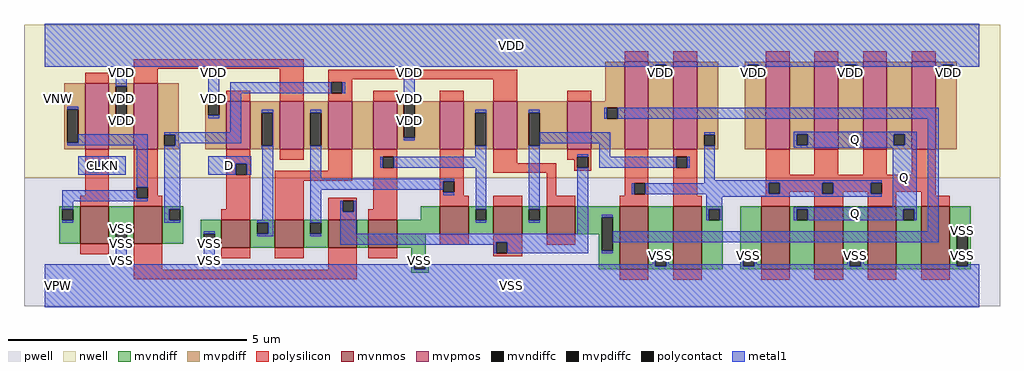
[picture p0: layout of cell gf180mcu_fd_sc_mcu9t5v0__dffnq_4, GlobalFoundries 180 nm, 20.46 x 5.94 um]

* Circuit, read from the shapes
.subckt gf180mcu_fd_sc_mcu9t5v0__dffnq_4 D CLKN Q VDD VNW VPW VSS
XM1 VSS CLKN n1 VPW nfet_06v0 w=0.79u l=0.6u
XM2 n2 n1 VSS VPW nfet_06v0 w=0.79u l=0.6u
XM3 n3 D VSS VPW nfet_06v0 w=0.59u l=0.6u
XM4 n4 n2 n3 VPW nfet_06v0 w=0.59u l=0.6u
XM5 n5 n1 n4 VPW nfet_06v0 w=0.59u l=0.6u
XM6 VSS n6 n5 VPW nfet_06v0 w=0.59u l=0.6u
XM7 n6 n4 VSS VPW nfet_06v0 w=0.59u l=0.6u
XM8 n7 n1 n6 VPW nfet_06v0 w=0.59u l=0.6u
XM9 n8 n2 n7 VPW nfet_06v0 w=0.59u l=0.6u
XM10 VSS n9 n8 VPW nfet_06v0 w=1.32u l=0.6u
XM11 n9 n7 VSS VPW nfet_06v0 w=1.32u l=0.6u
XM12 Q n9 VSS VPW nfet_06v0 w=1.32u l=0.6u m=4
XM13 VDD CLKN n1 VNW pfet_06v0 w=1.38u l=0.5u
XM14 n2 n1 VDD VNW pfet_06v0 w=1.38u l=0.5u
XM15 n3 D VDD VNW pfet_06v0 w=1u l=0.5u
XM16 n4 n1 n3 VNW pfet_06v0 w=1u l=0.5u
XM17 n10 n2 n4 VNW pfet_06v0 w=1u l=0.5u
XM18 VDD n6 n10 VNW pfet_06v0 w=1u l=0.5u
XM19 n6 n4 VDD VNW pfet_06v0 w=1u l=0.5u
XM20 n7 n2 n6 VNW pfet_06v0 w=1u l=0.5u
XM21 n8 n1 n7 VNW pfet_06v0 w=1u l=0.5u
XM22 VDD n9 n8 VNW pfet_06v0 w=1.83u l=0.5u
XM23 n9 n7 VDD VNW pfet_06v0 w=1.83u l=0.5u
XM24 Q n9 VDD VNW pfet_06v0 w=1.83u l=0.5u m=4
.ends

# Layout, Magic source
magic
tech gf180mcuD
magscale 1 10
<< nwell >>
rect -86 453 4006 1094
<< pwell >>
rect -86 -86 4006 453
<< mvnmos >>
rect 150 175 270 333
rect 374 175 494 333
rect 742 159 862 277
rect 966 159 1086 277
rect 1190 159 1310 277
rect 1358 159 1478 277
rect 1658 215 1778 333
rect 1882 215 2002 333
rect 2106 215 2226 333
rect 2412 69 2532 333
rect 2636 69 2756 333
rect 3004 69 3124 333
rect 3228 69 3348 333
rect 3452 69 3572 333
rect 3676 69 3796 333
<< mvpmos >>
rect 170 573 270 849
rect 374 573 474 849
rect 762 573 862 773
rect 986 573 1086 773
rect 1190 573 1290 773
rect 1378 573 1478 773
rect 1658 573 1758 773
rect 1881 573 1981 773
rect 2192 573 2292 773
rect 2432 573 2532 939
rect 2636 573 2736 939
rect 3024 573 3124 939
rect 3228 573 3328 939
rect 3432 573 3532 939
rect 3636 573 3736 939
<< mvndiff >>
rect 62 320 150 333
rect 62 274 75 320
rect 121 274 150 320
rect 62 175 150 274
rect 270 234 374 333
rect 270 188 299 234
rect 345 188 374 234
rect 270 175 374 188
rect 494 320 582 333
rect 494 274 523 320
rect 569 274 582 320
rect 1578 277 1658 333
rect 494 175 582 274
rect 654 218 742 277
rect 654 172 667 218
rect 713 172 742 218
rect 654 159 742 172
rect 862 264 966 277
rect 862 218 891 264
rect 937 218 966 264
rect 862 159 966 218
rect 1086 264 1190 277
rect 1086 218 1115 264
rect 1161 218 1190 264
rect 1086 159 1190 218
rect 1310 159 1358 277
rect 1478 215 1658 277
rect 1778 320 1882 333
rect 1778 274 1807 320
rect 1853 274 1882 320
rect 1778 215 1882 274
rect 2002 320 2106 333
rect 2002 274 2031 320
rect 2077 274 2106 320
rect 2002 215 2106 274
rect 2226 287 2412 333
rect 2226 215 2337 287
rect 1478 159 1598 215
rect 1538 127 1598 159
rect 1538 114 1610 127
rect 2324 147 2337 215
rect 2383 147 2412 287
rect 1538 68 1551 114
rect 1597 68 1610 114
rect 2324 69 2412 147
rect 2532 128 2636 333
rect 2532 82 2561 128
rect 2607 82 2636 128
rect 2532 69 2636 82
rect 2756 320 2844 333
rect 2756 274 2785 320
rect 2831 274 2844 320
rect 2756 69 2844 274
rect 2916 128 3004 333
rect 2916 82 2929 128
rect 2975 82 3004 128
rect 2916 69 3004 82
rect 3124 320 3228 333
rect 3124 274 3153 320
rect 3199 274 3228 320
rect 3124 69 3228 274
rect 3348 128 3452 333
rect 3348 82 3377 128
rect 3423 82 3452 128
rect 3348 69 3452 82
rect 3572 320 3676 333
rect 3572 274 3601 320
rect 3647 274 3676 320
rect 3572 69 3676 274
rect 3796 222 3884 333
rect 3796 82 3825 222
rect 3871 82 3884 222
rect 3796 69 3884 82
rect 1538 55 1610 68
<< mvpdiff >>
rect 82 739 170 849
rect 82 599 95 739
rect 141 599 170 739
rect 82 573 170 599
rect 270 836 374 849
rect 270 696 299 836
rect 345 696 374 836
rect 270 573 374 696
rect 474 632 562 849
rect 2352 773 2432 939
rect 474 586 503 632
rect 549 586 562 632
rect 474 573 562 586
rect 674 760 762 773
rect 674 714 687 760
rect 733 714 762 760
rect 674 573 762 714
rect 862 726 986 773
rect 862 586 911 726
rect 957 586 986 726
rect 862 573 986 586
rect 1086 726 1190 773
rect 1086 586 1115 726
rect 1161 586 1190 726
rect 1086 573 1190 586
rect 1290 573 1378 773
rect 1478 760 1658 773
rect 1478 620 1507 760
rect 1553 620 1658 760
rect 1478 573 1658 620
rect 1758 726 1881 773
rect 1758 586 1806 726
rect 1852 586 1881 726
rect 1758 573 1881 586
rect 1981 726 2192 773
rect 1981 586 2031 726
rect 2077 586 2192 726
rect 1981 573 2192 586
rect 2292 746 2432 773
rect 2292 700 2357 746
rect 2403 700 2432 746
rect 2292 573 2432 700
rect 2532 926 2636 939
rect 2532 880 2561 926
rect 2607 880 2636 926
rect 2532 573 2636 880
rect 2736 632 2824 939
rect 2736 586 2765 632
rect 2811 586 2824 632
rect 2736 573 2824 586
rect 2936 926 3024 939
rect 2936 880 2949 926
rect 2995 880 3024 926
rect 2936 573 3024 880
rect 3124 635 3228 939
rect 3124 589 3153 635
rect 3199 589 3228 635
rect 3124 573 3228 589
rect 3328 926 3432 939
rect 3328 880 3357 926
rect 3403 880 3432 926
rect 3328 573 3432 880
rect 3532 635 3636 939
rect 3532 589 3561 635
rect 3607 589 3636 635
rect 3532 573 3636 589
rect 3736 926 3824 939
rect 3736 880 3765 926
rect 3811 880 3824 926
rect 3736 573 3824 880
<< mvndiffc >>
rect 75 274 121 320
rect 299 188 345 234
rect 523 274 569 320
rect 667 172 713 218
rect 891 218 937 264
rect 1115 218 1161 264
rect 1807 274 1853 320
rect 2031 274 2077 320
rect 2337 147 2383 287
rect 1551 68 1597 114
rect 2561 82 2607 128
rect 2785 274 2831 320
rect 2929 82 2975 128
rect 3153 274 3199 320
rect 3377 82 3423 128
rect 3601 274 3647 320
rect 3825 82 3871 222
<< mvpdiffc >>
rect 95 599 141 739
rect 299 696 345 836
rect 503 586 549 632
rect 687 714 733 760
rect 911 586 957 726
rect 1115 586 1161 726
rect 1507 620 1553 760
rect 1806 586 1852 726
rect 2031 586 2077 726
rect 2357 700 2403 746
rect 2561 880 2607 926
rect 2765 586 2811 632
rect 2949 880 2995 926
rect 3153 589 3199 635
rect 3357 880 3403 926
rect 3561 589 3607 635
rect 3765 880 3811 926
<< polysilicon >>
rect 374 909 1086 949
rect 2432 939 2532 983
rect 2636 939 2736 983
rect 3024 939 3124 983
rect 3228 939 3328 983
rect 3432 939 3532 983
rect 3636 939 3736 983
rect 170 849 270 893
rect 374 849 474 909
rect 762 773 862 817
rect 986 773 1086 909
rect 1190 865 1981 905
rect 1190 852 1290 865
rect 1190 806 1203 852
rect 1249 806 1290 852
rect 1190 773 1290 806
rect 1378 773 1478 817
rect 1658 773 1758 817
rect 1881 773 1981 865
rect 2192 773 2292 817
rect 170 523 270 573
rect 170 477 183 523
rect 229 477 270 523
rect 170 377 270 477
rect 150 333 270 377
rect 374 412 474 573
rect 374 366 387 412
rect 433 377 474 412
rect 762 512 862 573
rect 986 529 1086 573
rect 762 466 801 512
rect 847 466 862 512
rect 1190 481 1290 573
rect 433 366 494 377
rect 374 333 494 366
rect 762 321 862 466
rect 742 277 862 321
rect 966 441 1290 481
rect 1378 540 1478 573
rect 1378 494 1419 540
rect 1465 494 1478 540
rect 966 277 1086 441
rect 1190 356 1310 369
rect 1190 310 1251 356
rect 1297 310 1310 356
rect 1378 321 1478 494
rect 1658 437 1758 573
rect 1881 513 1981 573
rect 2192 540 2292 573
rect 2192 529 2233 540
rect 1881 473 2146 513
rect 2220 494 2233 529
rect 2279 494 2292 540
rect 2220 481 2292 494
rect 1658 391 1671 437
rect 1717 391 1758 437
rect 1658 377 1758 391
rect 2106 377 2146 473
rect 2432 430 2532 573
rect 2432 384 2473 430
rect 2519 384 2532 430
rect 2432 377 2532 384
rect 1658 333 1778 377
rect 1882 333 2002 377
rect 2106 333 2226 377
rect 2412 333 2532 377
rect 2636 540 2736 573
rect 2636 494 2649 540
rect 2695 494 2736 540
rect 2636 377 2736 494
rect 3024 465 3124 573
rect 3228 465 3328 573
rect 3432 465 3532 573
rect 3636 465 3736 573
rect 3024 431 3736 465
rect 3024 385 3037 431
rect 3083 393 3260 431
rect 3083 385 3124 393
rect 3024 377 3124 385
rect 2636 333 2756 377
rect 3004 333 3124 377
rect 3228 385 3260 393
rect 3306 393 3465 431
rect 3306 385 3348 393
rect 3228 333 3348 385
rect 3452 385 3465 393
rect 3511 393 3736 431
rect 3511 385 3572 393
rect 3452 333 3572 385
rect 3676 377 3736 393
rect 3676 333 3796 377
rect 1190 277 1310 310
rect 1358 277 1478 321
rect 150 131 270 175
rect 374 67 494 175
rect 1658 171 1778 215
rect 1882 182 2002 215
rect 742 115 862 159
rect 966 115 1086 159
rect 1190 67 1310 159
rect 1358 115 1478 159
rect 1882 136 1895 182
rect 1941 136 2002 182
rect 2106 171 2226 215
rect 374 27 1310 67
rect 1882 123 2002 136
rect 2412 25 2532 69
rect 2636 25 2756 69
rect 3004 25 3124 69
rect 3228 25 3348 69
rect 3452 25 3572 69
rect 3676 25 3796 69
<< polycontact >>
rect 1203 806 1249 852
rect 183 477 229 523
rect 387 366 433 412
rect 801 466 847 512
rect 1419 494 1465 540
rect 1251 310 1297 356
rect 2233 494 2279 540
rect 1671 391 1717 437
rect 2473 384 2519 430
rect 2649 494 2695 540
rect 3037 385 3083 431
rect 3260 385 3306 431
rect 3465 385 3511 431
rect 1895 136 1941 182
<< metal1 >>
rect 0 926 3920 1098
rect 0 918 2561 926
rect 299 836 345 918
rect 95 739 141 750
rect 687 760 733 918
rect 687 703 733 714
rect 779 806 1203 852
rect 1249 806 1260 852
rect 299 685 345 696
rect 779 643 825 806
rect 1507 760 1553 918
rect 2607 918 2949 926
rect 2561 869 2607 880
rect 2995 918 3357 926
rect 2949 869 2995 880
rect 3403 918 3765 926
rect 3357 869 3403 880
rect 3811 918 3920 926
rect 3765 869 3811 880
rect 141 599 433 634
rect 95 588 433 599
rect 142 523 341 542
rect 142 477 183 523
rect 229 477 341 523
rect 142 466 341 477
rect 387 412 433 588
rect 75 366 387 401
rect 75 355 433 366
rect 503 632 825 643
rect 549 597 825 632
rect 911 726 958 737
rect 549 586 569 597
rect 75 320 121 355
rect 75 263 121 274
rect 503 320 569 586
rect 957 586 958 726
rect 911 575 958 586
rect 686 512 866 542
rect 686 466 801 512
rect 847 466 866 512
rect 503 274 523 320
rect 912 275 958 575
rect 503 263 569 274
rect 891 264 958 275
rect 299 234 345 245
rect 299 90 345 188
rect 667 218 713 229
rect 937 218 958 264
rect 891 207 958 218
rect 1115 726 1161 737
rect 1507 609 1553 620
rect 1806 726 1853 737
rect 1115 448 1161 586
rect 1852 586 1853 726
rect 1806 540 1853 586
rect 1408 494 1419 540
rect 1465 494 1853 540
rect 1115 437 1717 448
rect 1115 402 1671 437
rect 1115 264 1161 402
rect 1671 380 1717 391
rect 1115 207 1161 218
rect 1240 310 1251 356
rect 1297 310 1308 356
rect 1240 217 1308 310
rect 1807 320 1853 494
rect 1807 263 1853 274
rect 2031 726 2077 737
rect 2346 700 2357 746
rect 2403 700 3750 746
rect 2077 597 2371 643
rect 2031 320 2077 586
rect 2031 263 2077 274
rect 2233 540 2279 551
rect 2325 540 2371 597
rect 2765 632 2811 643
rect 2325 494 2649 540
rect 2695 494 2706 540
rect 2233 217 2279 494
rect 2765 442 2811 586
rect 3142 635 3658 646
rect 3142 589 3153 635
rect 3199 589 3561 635
rect 3607 589 3658 635
rect 3142 578 3658 589
rect 2765 431 3511 442
rect 2765 430 3037 431
rect 2462 384 2473 430
rect 2519 385 3037 430
rect 3083 385 3260 431
rect 3306 385 3465 431
rect 2519 384 3511 385
rect 2774 374 3511 384
rect 2774 320 2842 374
rect 3557 328 3658 578
rect 667 90 713 172
rect 1240 182 2279 217
rect 1240 171 1895 182
rect 1884 136 1895 171
rect 1941 136 2279 182
rect 2337 287 2383 298
rect 2774 274 2785 320
rect 2831 274 2842 320
rect 3142 320 3658 328
rect 3142 274 3153 320
rect 3199 274 3601 320
rect 3647 274 3658 320
rect 3704 228 3750 700
rect 2383 182 3750 228
rect 3825 222 3871 233
rect 2337 136 2383 147
rect 1551 114 1597 125
rect 0 68 1551 90
rect 2550 90 2561 128
rect 1597 82 2561 90
rect 2607 90 2618 128
rect 2918 90 2929 128
rect 2607 82 2929 90
rect 2975 90 2986 128
rect 3366 90 3377 128
rect 2975 82 3377 90
rect 3423 90 3434 128
rect 3423 82 3825 90
rect 3871 82 3920 90
rect 1597 68 3920 82
rect 0 -90 3920 68
<< labels >>
flabel metal1 s 142 466 341 542 0 FreeSans 200 0 0 0 CLKN
port 2 nsew clock input
flabel metal1 s 686 466 866 542 0 FreeSans 200 0 0 0 D
port 1 nsew default input
flabel metal1 s 3142 578 3658 646 0 FreeSans 200 0 0 0 Q
port 3 nsew default output
flabel metal1 s 0 918 3920 1098 0 FreeSans 200 0 0 0 VDD
port 4 nsew power bidirectional abutment
flabel metal1 s 299 233 345 245 0 FreeSans 200 0 0 0 VSS
port 7 nsew ground bidirectional abutment
flabel nwell s 10 734 110 834 0 FreeSans 400 0 0 0 VNW
port 5 nsew power bidirectional
flabel pwell s 10 -50 110 50 0 FreeSans 400 0 0 0 VPW
port 6 nsew ground bidirectional
rlabel metal1 s 3557 328 3658 578 1 Q
port 3 nsew default output
rlabel metal1 s 3142 274 3658 328 1 Q
port 3 nsew default output
rlabel metal1 s 3765 869 3811 918 1 VDD
port 4 nsew power bidirectional abutment
rlabel metal1 s 3357 869 3403 918 1 VDD
port 4 nsew power bidirectional abutment
rlabel metal1 s 2949 869 2995 918 1 VDD
port 4 nsew power bidirectional abutment
rlabel metal1 s 2561 869 2607 918 1 VDD
port 4 nsew power bidirectional abutment
rlabel metal1 s 1507 869 1553 918 1 VDD
port 4 nsew power bidirectional abutment
rlabel metal1 s 687 869 733 918 1 VDD
port 4 nsew power bidirectional abutment
rlabel metal1 s 299 869 345 918 1 VDD
port 4 nsew power bidirectional abutment
rlabel metal1 s 1507 703 1553 869 1 VDD
port 4 nsew power bidirectional abutment
rlabel metal1 s 687 703 733 869 1 VDD
port 4 nsew power bidirectional abutment
rlabel metal1 s 299 703 345 869 1 VDD
port 4 nsew power bidirectional abutment
rlabel metal1 s 1507 685 1553 703 1 VDD
port 4 nsew power bidirectional abutment
rlabel metal1 s 299 685 345 703 1 VDD
port 4 nsew power bidirectional abutment
rlabel metal1 s 1507 609 1553 685 1 VDD
port 4 nsew power bidirectional abutment
rlabel metal1 s 3825 229 3871 233 1 VSS
port 7 nsew ground bidirectional abutment
rlabel metal1 s 299 229 345 233 1 VSS
port 7 nsew ground bidirectional abutment
rlabel metal1 s 3825 128 3871 229 1 VSS
port 7 nsew ground bidirectional abutment
rlabel metal1 s 667 128 713 229 1 VSS
port 7 nsew ground bidirectional abutment
rlabel metal1 s 299 128 345 229 1 VSS
port 7 nsew ground bidirectional abutment
rlabel metal1 s 3825 125 3871 128 1 VSS
port 7 nsew ground bidirectional abutment
rlabel metal1 s 3366 125 3434 128 1 VSS
port 7 nsew ground bidirectional abutment
rlabel metal1 s 2918 125 2986 128 1 VSS
port 7 nsew ground bidirectional abutment
rlabel metal1 s 2550 125 2618 128 1 VSS
port 7 nsew ground bidirectional abutment
rlabel metal1 s 667 125 713 128 1 VSS
port 7 nsew ground bidirectional abutment
rlabel metal1 s 299 125 345 128 1 VSS
port 7 nsew ground bidirectional abutment
rlabel metal1 s 3825 90 3871 125 1 VSS
port 7 nsew ground bidirectional abutment
rlabel metal1 s 3366 90 3434 125 1 VSS
port 7 nsew ground bidirectional abutment
rlabel metal1 s 2918 90 2986 125 1 VSS
port 7 nsew ground bidirectional abutment
rlabel metal1 s 2550 90 2618 125 1 VSS
port 7 nsew ground bidirectional abutment
rlabel metal1 s 1551 90 1597 125 1 VSS
port 7 nsew ground bidirectional abutment
rlabel metal1 s 667 90 713 125 1 VSS
port 7 nsew ground bidirectional abutment
rlabel metal1 s 299 90 345 125 1 VSS
port 7 nsew ground bidirectional abutment
rlabel metal1 s 0 -90 3920 90 1 VSS
port 7 nsew ground bidirectional abutment
<< properties >>
string FIXED_BBOX 0 0 3920 1008
string GDS_END 1509848
string GDS_FILE $PDKPATH/libs.ref/gf180mcu_fd_sc_mcu9t5v0/gds/gf180mcu_fd_sc_mcu9t5v0.gds
string GDS_START 1501426
string LEFclass core
string LEFsite GF018hv5v_green_sc9
string LEFsymmetry X Y
<< end >>
